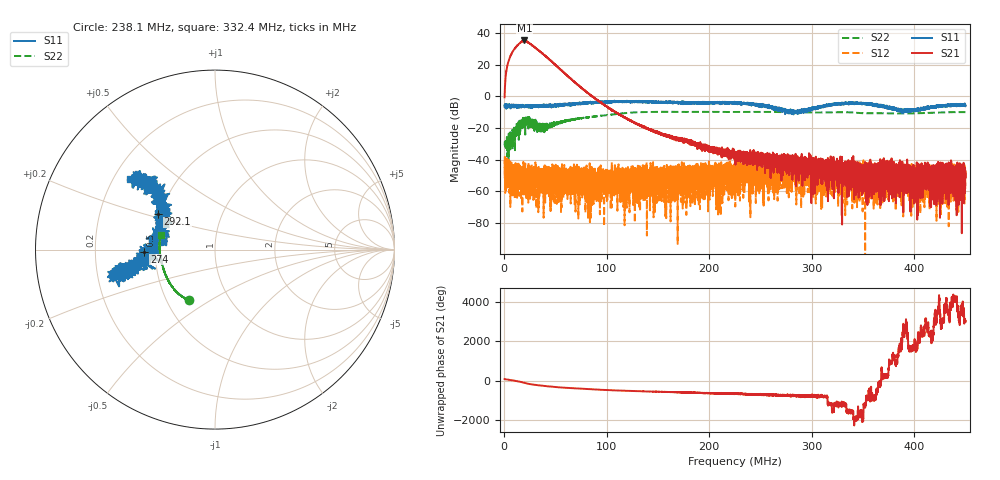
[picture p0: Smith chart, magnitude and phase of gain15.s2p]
# Hz S DB R 50
! CMT, M5065, 19127446, 24.2.4/2
! Date: 12/3/2024 4:27:45 PM
! Data: Format (Calibration Info)
! Freq	S11:dB/Ang(F2)	S21:dB/Ang(F2)	S12:dB/Ang(F2)	S22:dB/Ang(F2)
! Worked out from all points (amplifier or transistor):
!   9000 points, 300 kHz to 450 MHz, reference 50 ohm
!   highest |S21| = 35.2 dB at 19.54 MHz (marker M1)
!   |S21| within 3 dB of that: 13.05 MHz to 27.03 MHz (13.98 MHz wide, 69.8 % of centre)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
!   unconditionally stable (mu >= 1): start of sweep to end of sweep
!   at 75.26 MHz: K = 62.93, MAG = 7.3 dB, |S12| = -51.3 dB
!   at 225.2 MHz: K = 3667.89, MAG = -34.7 dB, |S12| = -44.9 dB
!   at 450 MHz: K = 17408.08, MAG = -45.6 dB, |S12| = -46.9 dB
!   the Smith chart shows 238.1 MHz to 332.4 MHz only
!   S11 on the Smith chart (normalised r, x): 238.1 MHz: 0.27, -0.10; 274 MHz: 0.43, -0.01; 292.1 MHz: 0.49, +0.22; 332.4 MHz: 0.27, +0.34
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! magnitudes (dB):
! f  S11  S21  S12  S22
! 300 kHz  -5.9  -0.7  -41.0  -30.6
! 3.198 MHz  -5.6  19.8  -49.1  -30.5
! 6.047 MHz  -7.7  25.7  -45.9  -24.9
! 19.54 MHz  -6.9  35.2  -46.8  -15.3
! 37.83 MHz  -6.1  26.7  -50.3  -21.4
! 75.26 MHz  -4.8  5.4  -51.3  -13.9
! 113 MHz  -3.4  -11.7  -62.1  -11.0
! 150.2 MHz  -3.3  -23.6  -51.5  -9.9
! 225.2 MHz  -4.6  -37.0  -44.9  -9.9
! 238.1 MHz  -4.8  -37.0  -54.2  -9.9
! 274 MHz  -8.1  -39.4  -43.8  -10.1
! 292.1 MHz  -8.6  -42.6  -43.1  -10.2
! 300.1 MHz  -7.6  -39.9  -47.2  -10.3
! 308.6 MHz  -6.9  -42.5  -49.2  -10.3
! 314.6 MHz  -5.8  -43.1  -46.4  -10.2
! 332.4 MHz  -4.2  -49.5  -46.0  -10.1
! 347.5 MHz  -4.5  -53.6  -55.8  -10.6
! 375.1 MHz  -7.1  -52.7  -51.6  -10.8
! 394.9 MHz  -9.3  -48.7  -63.5  -10.8
! 441.7 MHz  -6.0  -48.8  -51.3  -10.1
! 446.6 MHz  -5.6  -49.9  -48.3  -10.0
! 450 MHz  -6.0  -47.3  -46.9  -10.1
